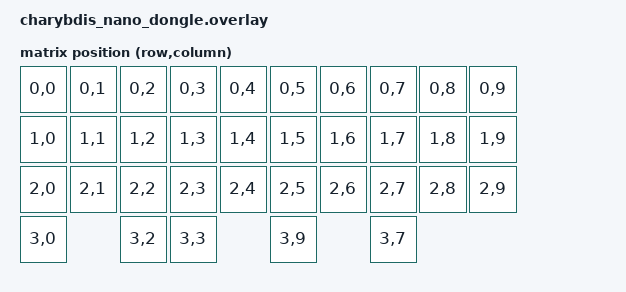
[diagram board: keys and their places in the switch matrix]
/*
 * Copyright (c) 2026 The ZMK Contributors
 * SPDX-License-Identifier: MIT
 *
 * Charybdis Nano Dongle (Prospector)
 * Central role with no local key scanning. Uses mock kscan and split inputs.
 */

#include <dt-bindings/zmk/matrix_transform.h>
#include <dt-bindings/zmk/input_transform.h>
#include <input/processors.dtsi>

/ {
    chosen {
        zmk,kscan = &mock_kscan;
        zmk,matrix-transform = &default_transform;
    };

    mock_kscan: kscan {
        compatible = "zmk,kscan-mock";
        columns = <0>;
        rows = <0>;
        events = <0>;
    };

    /*
     * Matrix Transform
     * Mirrors the Charybdis Nano keymap positions for split input events.
     */
    default_transform: keymap_transform_0 {
        compatible = "zmk,matrix-transform";
        columns = <10>;
        rows = <4>;
        map = <
        /*       LEFT HALF (cols 0-4)                      RIGHT HALF (cols 5-9)          */
        /*  C2      C3      C4      C5      C6        C2      C3      C4      C5      C6  */
            RC(0,0) RC(0,1) RC(0,2) RC(0,3) RC(0,4)   RC(0,5) RC(0,6) RC(0,7) RC(0,8) RC(0,9)
            RC(1,0) RC(1,1) RC(1,2) RC(1,3) RC(1,4)   RC(1,5) RC(1,6) RC(1,7) RC(1,8) RC(1,9)
            RC(2,0) RC(2,1) RC(2,2) RC(2,3) RC(2,4)   RC(2,5) RC(2,6) RC(2,7) RC(2,8) RC(2,9)
            RC(3,0)         RC(3,2) RC(3,3)           RC(3,9)         RC(3,7)
        >;
    };

    /*
     * Input Split Configuration
     * Used to relay trackball input from peripheral (right) to central (dongle).
     */
    split_inputs {
        #address-cells = <1>;
        #size-cells = <0>;

        trackball_split: trackball_split@0 {
            compatible = "zmk,input-split";
            reg = <0>;
        };
    };

    /*
     * Trackball Input Listener
     * Receives events from trackball_split on central side.
     */
    trackball_listener: trackball_listener {
        compatible = "zmk,input-listener";
        status = "okay";
        device = <&trackball_split>;
        /* Baseline axis correction only; no motion-based layer switching. */
        input-processors = <&zip_xy_transform INPUT_TRANSFORM_XY_SWAP>;
    };
};
